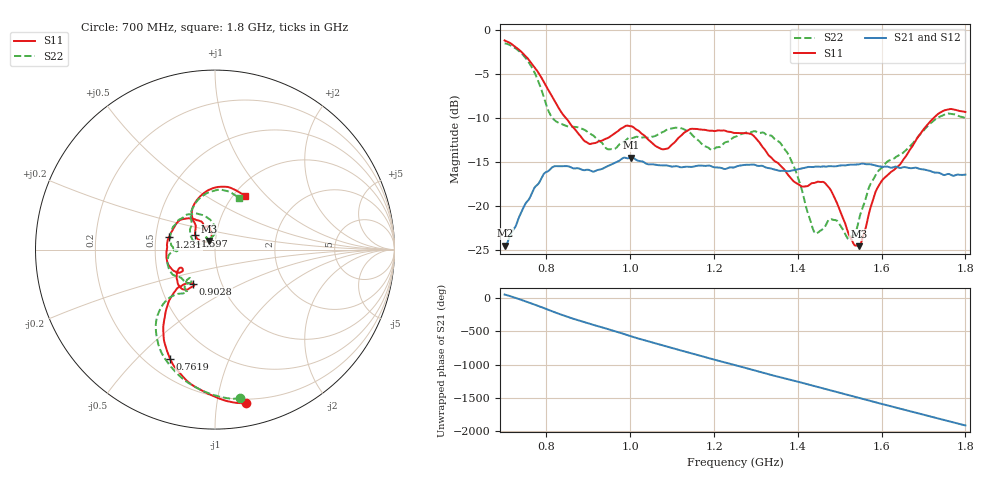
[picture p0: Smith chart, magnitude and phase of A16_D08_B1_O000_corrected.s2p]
! Created with skrf 1.9.0 (http://scikit-rf.org).
# Hz S RI R 50.0
!freq ReS11 ImS11 ReS21 ImS21 ReS12 ImS12 ReS22 ImS22
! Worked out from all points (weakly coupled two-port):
!   1601 points, 700 MHz to 1.8 GHz, reference 50 ohm
!   highest |S21| = -14.49 dB at 1.002 GHz (marker M1); lowest = -24.5 dB at 700.7 MHz (marker M2)
!   lowest |S11| = -24.6 dB at 1.546 GHz (marker M3), VSWR 1.13, Z = 46.6 + j4.56 ohm
!   |S11| at or under -10 dB: 846.5 MHz to 1.724 GHz (877.5 MHz wide, 68.3 % of centre)
!   |S22| runs from -23.8 to -1.5 dB; largest |S21 - S12| = 0.0037
!   S11 on the Smith chart (normalised r, x): 700 MHz: 0.17, -1.21; 761.9 MHz: 0.29, -0.63; 902.8 MHz: 0.73, -0.29; 1.231 GHz: 0.59, +0.09; 1.597 GHz: 0.79, +0.13; 1.8 GHz: 1.12, +0.76
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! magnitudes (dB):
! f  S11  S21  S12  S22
! 700 MHz  -1.2  -24.5  -24.3  -1.5
! 700.7 MHz  -1.2  -24.5  -24.2  -1.5
! 761.9 MHz  -3.6  -18.9  -18.8  -4.0
! 814.8 MHz  -7.7  -15.6  -15.6  -10.0
! 883.6 MHz  -12.2  -15.9  -15.8  -11.2
! 902.8 MHz  -13.0  -15.9  -15.9  -11.7
! 948.9 MHz  -12.2  -15.4  -15.4  -13.6
! 1.002 GHz  -10.9  -14.5  -14.6  -12.3
! 1.067 GHz  -13.4  -15.4  -15.3  -11.8
! 1.145 GHz  -11.2  -15.6  -15.6  -11.8
! 1.231 GHz  -11.5  -15.7  -15.7  -12.7
! 1.25 GHz  -11.7  -15.6  -15.5  -12.1
! 1.359 GHz  -15.4  -16.0  -16.0  -12.9
! 1.394 GHz  -17.3  -15.9  -15.9  -15.9
! 1.434 GHz  -17.4  -15.6  -15.6  -22.3
! 1.473 GHz  -17.9  -15.5  -15.5  -21.6
! 1.522 GHz  -23.2  -15.3  -15.3  -23.8
! 1.546 GHz  -24.6  -15.3  -15.2  -21.6
! 1.597 GHz  -17.4  -15.5  -15.5  -15.8
! 1.617 GHz  -16.4  -15.6  -15.5  -14.9
! 1.733 GHz  -9.6  -16.2  -16.3  -10.0
! 1.8 GHz  -9.3  -16.4  -16.4  -10.0
